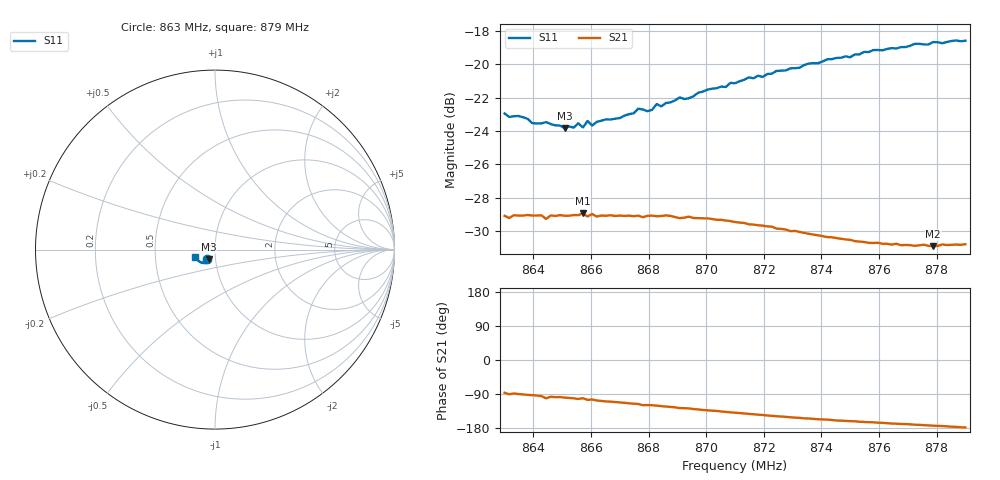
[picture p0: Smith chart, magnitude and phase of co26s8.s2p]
# HZ S RI R 50
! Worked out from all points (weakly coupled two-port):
!   101 points, 863 MHz to 879 MHz, reference 50 ohm
!   highest |S21| = -28.92 dB at 865.72 MHz (marker M1); lowest = -30.9 dB at 877.88 MHz (marker M2)
!   lowest |S11| = -23.8 dB at 865.08 MHz (marker M3), VSWR 1.14, Z = 46.3 - j4.95 ohm
!   |S11| at or under -10 dB: start of sweep to end of sweep
!   S12 and S22 are empty: the file has one direction only
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8.63e8  -0.0458 -0.0544  0.0022 -0.0351  0 0  0 0
8.6364e8  -0.043 -0.0544  -0.000557 -0.0353  0 0  0 0
8.6396e8  -0.0409 -0.0525  -0.00175 -0.0352  0 0  0 0
8.6444e8  -0.0407 -0.0533  -0.00667 -0.0338  0 0  0 0
8.6508e8  -0.0361 -0.0533  -0.00567 -0.0348  0 0  0 0
8.654e8  -0.0322 -0.056  -0.00682 -0.0347  0 0  0 0
8.6556e8  -0.0357 -0.0561  -0.00784 -0.0345  0 0  0 0
8.6572e8  -0.0303 -0.0571  -0.0068 -0.0352  0 0  0 0
8.6588e8  -0.0358 -0.0574  -0.00919 -0.0338  0 0  0 0
8.6604e8  -0.0312 -0.0576  -0.00878 -0.0346  0 0  0 0
8.6748e8  -0.0338 -0.0628  -0.015 -0.0318  0 0  0 0
8.6764e8  -0.0356 -0.0644  -0.0155 -0.0317  0 0  0 0
8.6796e8  -0.0355 -0.063  -0.017 -0.0308  0 0  0 0
8.6828e8  -0.0358 -0.067  -0.0178 -0.0302  0 0  0 0
8.6844e8  -0.0355 -0.0657  -0.0185 -0.0299  0 0  0 0
8.6908e8  -0.04 -0.0687  -0.0208 -0.0277  0 0  0 0
8.694e8  -0.0392 -0.0686  -0.0215 -0.0277  0 0  0 0
8.71e8  -0.0481 -0.0732  -0.0255 -0.0221  0 0  0 0
8.7372e8  -0.0673 -0.0747  -0.0281 -0.0129  0 0  0 0
8.7644e8  -0.0932 -0.0613  -0.0282 -0.00614  0 0  0 0
8.7788e8  -0.1049 -0.0503  -0.0284 -0.00326  0 0  0 0
8.79e8  -0.1108 -0.0387  -0.029 -0.000949  0 0  0 0
